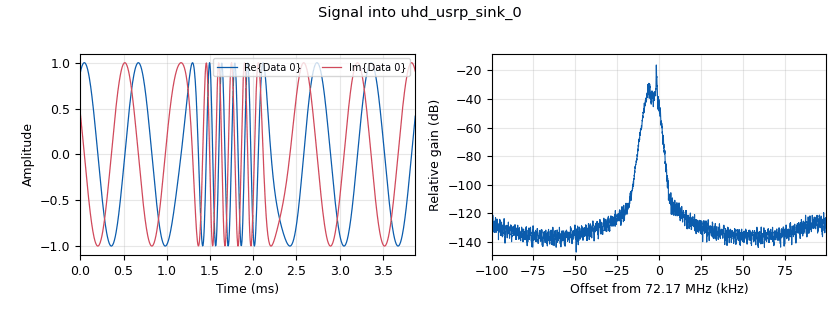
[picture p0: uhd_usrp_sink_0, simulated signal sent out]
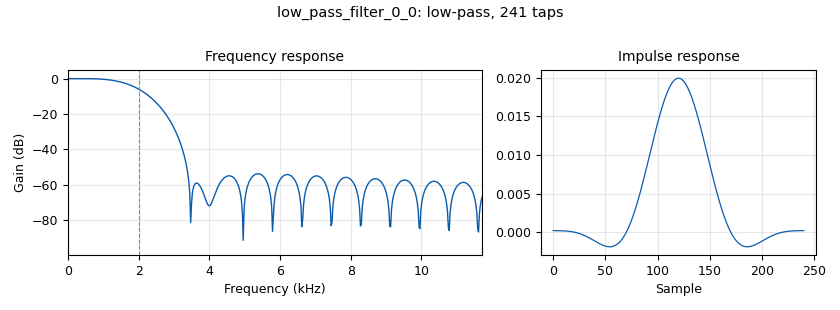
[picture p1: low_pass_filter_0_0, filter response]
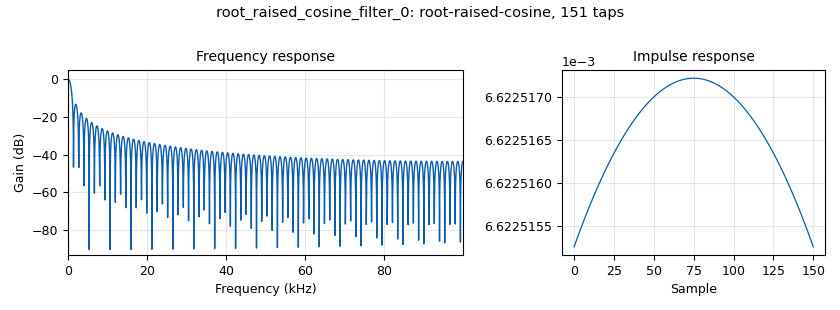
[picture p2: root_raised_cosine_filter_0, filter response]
<?xml version='1.0' encoding='utf-8'?>
<?grc format='1' created='3.7.9'?>
<flow_graph>
<block>
<key>options</key>
<param><key>id</key><value>top_block</value></param>
<param><key>category</key><value>Custom</value></param>
<param><key>generate_options</key><value>qt_gui</value></param>
</block>
<block>
<key>variable_qtgui_range</key>
<param><key>id</key><value>added</value></param>
<param><key>value</key><value>-0.4</value></param>
<param><key>orient</key><value>Qt.Horizontal</value></param>
<param><key>start</key><value>-1</value></param>
<param><key>step</key><value>0.001</value></param>
<param><key>stop</key><value>1</value></param>
</block>
<block>
<key>variable</key>
<param><key>id</key><value>bandwith</value></param>
<param><key>value</key><value>50e3</value></param>
</block>
<block>
<key>variable</key>
<param><key>id</key><value>frequency_carrier</value></param>
<param><key>value</key><value>72.170e6</value></param>
</block>
<block>
<key>variable_qtgui_range</key>
<param><key>id</key><value>multiplied</value></param>
<param><key>value</key><value>-17</value></param>
<param><key>orient</key><value>Qt.Horizontal</value></param>
<param><key>start</key><value>-100</value></param>
<param><key>step</key><value>1</value></param>
<param><key>stop</key><value>0</value></param>
</block>
<block>
<key>variable</key>
<param><key>id</key><value>samp_rate</value></param>
<param><key>value</key><value>200000</value></param>
</block>
<block>
<key>PPM_Analog_RC_PPM_Demodulator</key>
<param><key>id</key><value>PPM_Analog_RC_PPM_Demodulator_0</value></param>
<param><key>_enabled</key><value>0</value></param>
<param><key>frame_guard_time</key><value>0.008</value></param>
<param><key>samp_rate</key><value>samp_rate</value></param>
</block>
<block>
<key>PPM_Analog_RC_PPM_Modulator</key>
<param><key>id</key><value>PPM_Analog_RC_PPM_Modulator_0</value></param>
<param><key>_enabled</key><value>0</value></param>
<param><key>frame_guard_time</key><value>0.010</value></param>
<param><key>peak_duration</key><value>0.0002</value></param>
<param><key>samp_rate</key><value>samp_rate</value></param>
</block>
<block>
<key>PPM_Analog_RC_PPM_Peak_Detector</key>
<param><key>id</key><value>PPM_Analog_RC_PPM_Peak_Detector_0</value></param>
<param><key>_enabled</key><value>0</value></param>
<param><key>peak_threshold</key><value>0</value></param>
</block>
<block>
<key>PPM_Analog_RC_PPM_Signal_Detector</key>
<param><key>id</key><value>PPM_Analog_RC_PPM_Signal_Detector_0</value></param>
<param><key>_enabled</key><value>0</value></param>
<param><key>energy_threshold</key><value>1</value></param>
<param><key>samp_rate</key><value>samp_rate</value></param>
</block>
<block>
<key>analog_noise_source_x</key>
<param><key>id</key><value>analog_noise_source_x_0</value></param>
<param><key>amp</key><value>1</value></param>
<param><key>noise_type</key><value>analog.GR_IMPULSE</value></param>
<param><key>type</key><value>float</value></param>
<param><key>seed</key><value>0</value></param>
</block>
<block>
<key>analog_wfm_rcv</key>
<param><key>id</key><value>analog_wfm_rcv_0</value></param>
<param><key>audio_decimation</key><value>1</value></param>
<param><key>_enabled</key><value>0</value></param>
<param><key>quad_rate</key><value>bandwith</value></param>
</block>
<block>
<key>analog_wfm_tx</key>
<param><key>id</key><value>analog_wfm_tx_0</value></param>
<param><key>audio_rate</key><value>250000</value></param>
<param><key>max_dev</key><value>5e3</value></param>
<param><key>quad_rate</key><value>250000</value></param>
<param><key>tau</key><value>75e-6</value></param>
</block>
<block>
<key>blocks_add_const_vxx</key>
<param><key>id</key><value>blocks_add_const_vxx_0_0</value></param>
<param><key>const</key><value>added</value></param>
<param><key>type</key><value>float</value></param>
</block>
<block>
<key>blocks_complex_to_mag</key>
<param><key>id</key><value>blocks_complex_to_mag_0</value></param>
<param><key>_enabled</key><value>0</value></param>
</block>
<block>
<key>blocks_file_source</key>
<param><key>id</key><value>blocks_file_source_0</value></param>
<param><key>_enabled</key><value>0</value></param>
<param><key>file</key><value>/home/simon/Workspace/TC-16-17/PFE/2-PPM_Analog_RC/GNU-Radio/PPM_Analog_RC.dat</value></param>
<param><key>type</key><value>complex</value></param>
<param><key>repeat</key><value>True</value></param>
</block>
<block>
<key>blocks_multiply_const_vxx</key>
<param><key>id</key><value>blocks_multiply_const_vxx_0</value></param>
<param><key>const</key><value>-1</value></param>
<param><key>_enabled</key><value>0</value></param>
<param><key>type</key><value>float</value></param>
</block>
<block>
<key>blocks_multiply_const_vxx</key>
<param><key>id</key><value>blocks_multiply_const_vxx_0_0</value></param>
<param><key>const</key><value>multiplied</value></param>
<param><key>type</key><value>float</value></param>
</block>
<block>
<key>low_pass_filter</key>
<param><key>id</key><value>low_pass_filter_0</value></param>
<param><key>cutoff_freq</key><value>bandwith</value></param>
<param><key>decim</key><value>1</value></param>
<param><key>_enabled</key><value>0</value></param>
<param><key>type</key><value>fir_filter_ccf</value></param>
<param><key>gain</key><value>1</value></param>
<param><key>samp_rate</key><value>samp_rate</value></param>
<param><key>width</key><value>bandwith </value></param>
<param><key>win</key><value>firdes.WIN_HAMMING</value></param>
</block>
<block>
<key>low_pass_filter</key>
<param><key>id</key><value>low_pass_filter_0_0</value></param>
<param><key>cutoff_freq</key><value>2e3</value></param>
<param><key>decim</key><value>1</value></param>
<param><key>type</key><value>fir_filter_fff</value></param>
<param><key>gain</key><value>1</value></param>
<param><key>samp_rate</key><value>samp_rate</value></param>
<param><key>width</key><value>2e3</value></param>
<param><key>win</key><value>firdes.WIN_HAMMING</value></param>
</block>
<block>
<key>low_pass_filter</key>
<param><key>id</key><value>low_pass_filter_1</value></param>
<param><key>cutoff_freq</key><value>2e3</value></param>
<param><key>decim</key><value>1</value></param>
<param><key>_enabled</key><value>0</value></param>
<param><key>type</key><value>fir_filter_fff</value></param>
<param><key>gain</key><value>100</value></param>
<param><key>samp_rate</key><value>samp_rate</value></param>
<param><key>width</key><value>1e3</value></param>
<param><key>win</key><value>firdes.WIN_HAMMING</value></param>
</block>
<block>
<key>qtgui_time_sink_x</key>
<param><key>id</key><value>qtgui_time_sink_x_0</value></param>
<param><key>ctrlpanel</key><value>True</value></param>
<param><key>_enabled</key><value>0</value></param>
<param><key>color1</key><value>"blue"</value></param>
<param><key>label1</key><value></value></param>
<param><key>size</key><value>10240</value></param>
<param><key>srate</key><value>samp_rate</value></param>
<param><key>tr_delay</key><value>0.01</value></param>
<param><key>tr_level</key><value>0.09</value></param>
<param><key>tr_slope</key><value>qtgui.TRIG_SLOPE_NEG</value></param>
<param><key>type</key><value>float</value></param>
</block>
<block>
<key>root_raised_cosine_filter</key>
<param><key>id</key><value>root_raised_cosine_filter_0</value></param>
<param><key>alpha</key><value>0.35</value></param>
<param><key>type</key><value>interp_fir_filter_fff</value></param>
<param><key>gain</key><value>1</value></param>
<param><key>interp</key><value>1</value></param>
<param><key>ntaps</key><value>150</value></param>
<param><key>samp_rate</key><value>samp_rate</value></param>
<param><key>sym_rate</key><value>1.0</value></param>
</block>
<block>
<key>rtlsdr_source</key>
<param><key>id</key><value>rtlsdr_source_0</value></param>
<param><key>bb_gain0</key><value>20</value></param>
<param><key>freq0</key><value>frequency_carrier</value></param>
<param><key>gain_mode0</key><value>False</value></param>
<param><key>if_gain0</key><value>20</value></param>
<param><key>gain0</key><value>10</value></param>
<param><key>args</key><value></value></param>
<param><key>_enabled</key><value>0</value></param>
<param><key>type</key><value>fc32</value></param>
<param><key>sample_rate</key><value>samp_rate</value></param>
<param><key>sync</key><value></value></param>
</block>
<block>
<key>uhd_usrp_sink</key>
<param><key>id</key><value>uhd_usrp_sink_0</value></param>
<param><key>ant0</key><value>TX/RX</value></param>
<param><key>center_freq0</key><value>frequency_carrier</value></param>
<param><key>norm_gain0</key><value>False</value></param>
<param><key>gain0</key><value>100</value></param>
<param><key>clock_rate</key><value>0.0</value></param>
<param><key>dev_args</key><value>""</value></param>
<param><key>type</key><value>fc32</value></param>
<param><key>samp_rate</key><value>samp_rate</value></param>
<param><key>hide_cmd_port</key><value>False</value></param>
<param><key>sync</key><value></value></param>
<param><key>len_tag_name</key><value></value></param>
</block>
<block>
<key>uhd_usrp_source</key>
<param><key>id</key><value>uhd_usrp_source_0</value></param>
<param><key>ant0</key><value>TX/RX</value></param>
<param><key>bw0</key><value>bandwith</value></param>
<param><key>center_freq0</key><value>frequency_carrier</value></param>
<param><key>dc_offs_enb0</key><value>""</value></param>
<param><key>iq_imbal_enb0</key><value>""</value></param>
<param><key>norm_gain0</key><value>False</value></param>
<param><key>gain0</key><value>100</value></param>
<param><key>clock_rate</key><value>0.0</value></param>
<param><key>dev_args</key><value>""</value></param>
<param><key>_enabled</key><value>0</value></param>
<param><key>type</key><value>fc32</value></param>
<param><key>samp_rate</key><value>samp_rate</value></param>
<param><key>hide_cmd_port</key><value>False</value></param>
<param><key>sync</key><value></value></param>
</block>
<connection><source_block_id>PPM_Analog_RC_PPM_Modulator_0</source_block_id><sink_block_id>root_raised_cosine_filter_0</sink_block_id><source_key>0</source_key><sink_key>0</sink_key></connection>
<connection><source_block_id>PPM_Analog_RC_PPM_Peak_Detector_0</source_block_id><sink_block_id>PPM_Analog_RC_PPM_Demodulator_0</sink_block_id><source_key>0</source_key><sink_key>0</sink_key></connection>
<connection><source_block_id>PPM_Analog_RC_PPM_Peak_Detector_0</source_block_id><sink_block_id>PPM_Analog_RC_PPM_Signal_Detector_0</sink_block_id><source_key>0</source_key><sink_key>0</sink_key></connection>
<connection><source_block_id>PPM_Analog_RC_PPM_Signal_Detector_0</source_block_id><sink_block_id>qtgui_time_sink_x_0</sink_block_id><source_key>0</source_key><sink_key>0</sink_key></connection>
<connection><source_block_id>analog_noise_source_x_0</source_block_id><sink_block_id>root_raised_cosine_filter_0</sink_block_id><source_key>0</source_key><sink_key>0</sink_key></connection>
<connection><source_block_id>analog_wfm_rcv_0</source_block_id><sink_block_id>low_pass_filter_1</sink_block_id><source_key>0</source_key><sink_key>0</sink_key></connection>
<connection><source_block_id>analog_wfm_tx_0</source_block_id><sink_block_id>uhd_usrp_sink_0</sink_block_id><source_key>0</source_key><sink_key>0</sink_key></connection>
<connection><source_block_id>blocks_add_const_vxx_0_0</source_block_id><sink_block_id>analog_wfm_tx_0</sink_block_id><source_key>0</source_key><sink_key>0</sink_key></connection>
<connection><source_block_id>blocks_complex_to_mag_0</source_block_id><sink_block_id>PPM_Analog_RC_PPM_Signal_Detector_0</sink_block_id><source_key>0</source_key><sink_key>1</sink_key></connection>
<connection><source_block_id>blocks_file_source_0</source_block_id><sink_block_id>low_pass_filter_0</sink_block_id><source_key>0</source_key><sink_key>0</sink_key></connection>
<connection><source_block_id>blocks_multiply_const_vxx_0</source_block_id><sink_block_id>PPM_Analog_RC_PPM_Peak_Detector_0</sink_block_id><source_key>0</source_key><sink_key>0</sink_key></connection>
<connection><source_block_id>blocks_multiply_const_vxx_0_0</source_block_id><sink_block_id>blocks_add_const_vxx_0_0</sink_block_id><source_key>0</source_key><sink_key>0</sink_key></connection>
<connection><source_block_id>low_pass_filter_0</source_block_id><sink_block_id>analog_wfm_rcv_0</sink_block_id><source_key>0</source_key><sink_key>0</sink_key></connection>
<connection><source_block_id>low_pass_filter_0</source_block_id><sink_block_id>blocks_complex_to_mag_0</sink_block_id><source_key>0</source_key><sink_key>0</sink_key></connection>
<connection><source_block_id>low_pass_filter_0_0</source_block_id><sink_block_id>blocks_multiply_const_vxx_0_0</sink_block_id><source_key>0</source_key><sink_key>0</sink_key></connection>
<connection><source_block_id>low_pass_filter_1</source_block_id><sink_block_id>blocks_multiply_const_vxx_0</sink_block_id><source_key>0</source_key><sink_key>0</sink_key></connection>
<connection><source_block_id>root_raised_cosine_filter_0</source_block_id><sink_block_id>low_pass_filter_0_0</sink_block_id><source_key>0</source_key><sink_key>0</sink_key></connection>
<connection><source_block_id>rtlsdr_source_0</source_block_id><sink_block_id>low_pass_filter_0</sink_block_id><source_key>0</source_key><sink_key>0</sink_key></connection>
<connection><source_block_id>uhd_usrp_source_0</source_block_id><sink_block_id>low_pass_filter_0</sink_block_id><source_key>0</source_key><sink_key>0</sink_key></connection>
</flow_graph>
